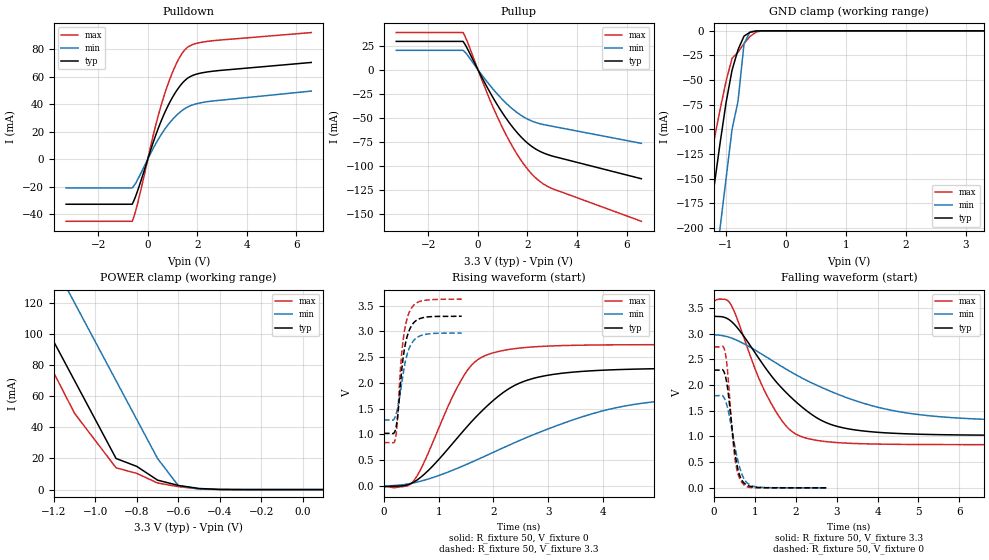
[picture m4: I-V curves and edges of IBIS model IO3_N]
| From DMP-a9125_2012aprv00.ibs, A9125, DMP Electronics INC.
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[Model]   IO3_N
|   IO3_N  MODEL
|   DATE   :  2008/8/25 ;
|   REVISION :  0.1.1 ;
|   Model generated   Mon Aug 25 17:59:42 2008
Model_type  I/O
Polarity   Non-Inverting
Enable   Active-Low
| Signals
Vinl = 0.700
Vinh = 2.100
Vmeas = 1.65
| variable   typ   min   max
C_comp   1.855pf   1.758pf   1.986pf
[Model Spec]
|   Subparameter   typ   min   max
Vinh   2.100   2.100   2.100
Vinl   0.700   0.700   0.700
Vmeas   1.650   1.485   1.815
[Temperature Range]   25   125   -40
|   typ   min   max
[Voltage Range]   3.3V   2.97V   3.63V
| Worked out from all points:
|   slope of the pulldown table from 0 to 0.495 V, typ, clamps not added: 19.3 ohm
|   slope of the pullup table from 0 to 0.495 V, typ, clamps not added: 20.6 ohm
|   GND clamp passes 1 mA (typ) near -0.56 V on its own axis
|   POWER clamp passes 1 mA (typ) near -0.51 V on its own axis
|   rising waveform, R_fixture 50, V_fixture 0: 20-80 % time 1.26ns typ, 2.53ns min, 721ps max; typ from -0.02 V to 2.29 V
|   falling waveform, R_fixture 50, V_fixture 3.3: 20-80 % time 1.5ns typ, 2.66ns min, 918ps max; typ from 3.33 V to 1.02 V
|   rising waveform, R_fixture 50, V_fixture 3.3: 20-80 % time 147ps typ, 177ps min, 132ps max; typ from 1.02 V to 3.29 V
|   falling waveform, R_fixture 50, V_fixture 0: 20-80 % time 210ps typ, 277ps min, 176ps max; typ from 2.29 V to 0.001 V
[Pulldown]
|   Voltage   I(typ)   I(min)   I(max)
-3.3V     -32.82mA   -20.98mA   -45.21mA
-630mV    -32.82mA   -20.98mA   -45.21mA
-420mV    -23.45mA   -15.27mA   -32.9mA
280mV     15.37mA    9.833mA    21.81mA
700mV     34.4mA     22.06mA    48.48mA
910mV     42.06mA    26.99mA    59.13mA
1.19V     50.45mA    32.38mA    70.72mA
1.4V      55.36mA    35.53mA    77.3mA
1.61V     58.82mA    37.88mA    81.32mA
1.96V     61.71mA    40.21mA    84.09mA
2.52V     63.63mA    42mA       85.79mA
6.6V      70.22mA    49.44mA    91.95mA
[GND Clamp]
|   Voltage   I(typ)   I(min)   I(max)
-3.3V     -1.21A     -1.3A      -1.15A
-1.4V     -252mA     -350mA     -200mA
-1.3V     -204mA     -300mA     -150mA
-1.2V     -158mA     -250mA     -111mA
-1.1V     -114mA     -200mA     -80mA
-1V       -72.9mA    -150mA     -51.1mA
-900mV    -39.9mA    -100mA     -27.9mA
-800mV    -19.1mA    -71.3mA    -21.7mA
-700mV    -5.32mA    -13mA      -12.9mA
-600mV    -1.53mA    -1.01mA    -5.7mA
-400mV    -13.4uA    -4.88uA    -88.4uA
3.3V      0A         0A         0A
[Pullup]
|   Voltage   I(typ)   I(min)   I(max)
|( VDD-Vmeas )
-3.3V     29.46mA    20.16mA    38.65mA
-600mV    29.46mA    20.16mA    38.65mA
-420mV    21.57mA    15.08mA    28.63mA
360mV     -17.74mA   -12.31mA   -23.71mA
960mV     -43.84mA   -30.26mA   -58.69mA
1.26V     -55.05mA   -37.82mA   -73.82mA
1.56V     -64.85mA   -44.27mA   -87.22mA
1.86V     -73.1mA    -49.47mA   -98.75mA
2.16V     -79.65mA   -53.32mA   -108.2mA
2.58V     -86mA      -56.76mA   -117.9mA
3V        -89.92mA   -58.94mA   -123.9mA
6.6V      -113.6mA   -76.74mA   -157.9mA
[POWER Clamp]
|   Voltage   I(typ)   I(min)   I(max)
|( VDD-Vmeas )
-3.3V     620mA      670mA      600mA
-1.4V     145mA      195mA      125mA
-1.3V     120mA      170mA      100mA
-1.2V     95mA       145mA      75mA
-1.1V     70mA       120mA      49mA
-900mV    20mA       70mA       14mA
-800mV    14.9mA     45mA       10.4mA
-700mV    6.09mA     20mA       4.26mA
-600mV    2.68mA     2.56mA     1.88mA
-500mV    731uA      316uA      511uA
-400mV    105uA      45.9uA     73.8uA
100mV     0A         0A         0A
[Rising Waveform]
R_fixture = 50
V_fixture = 0
V_fixture_min = 0
V_fixture_max = 0
C_fixture = 0
L_fixture = 0
|   Time   V(typ)   V(min)   V(max)
0s        -20.15mV   -573.8uV   -141.6uV
427ps     18.19mV    35.19mV    -672.7uV
549ps     75.8mV     60.15mV    103.9mV
1.464ns   1.083V     395.8mV    2.146V
1.708ns   1.367V     510.3mV    2.445V
2.074ns   1.726V     687.9mV    2.604V
2.44ns    1.976V     862.8mV    2.67V
2.928ns   2.134V     1.076V     2.71V
4.819ns   2.271V     1.617V     2.74V
10.37ns   2.29V      1.787V     2.742V
[Falling Waveform]
R_fixture = 50
V_fixture = 3.3
V_fixture_min = 2.97
V_fixture_max = 3.63
C_fixture = 0
L_fixture = 0
|   Time   V(typ)   V(min)   V(max)
0s        3.335V     2.978V     3.628V
372ps     3.268V     2.928V     3.614V
558ps     3.124V     2.87V      3.302V
1.054ns   2.567V     2.655V     2.211V
1.364ns   2.217V     2.503V     1.691V
1.798ns   1.826V     2.293V     1.172V
2.17ns    1.56V      2.128V     988.1mV
3.1ns     1.178V     1.798V     876.3mV
4.96ns    1.045V     1.43V      843.6mV
10.6ns    1.02V      1.285V     840.3mV
[Rising Waveform]
R_fixture = 50
V_fixture = 3.3
V_fixture_min = 2.97
V_fixture_max = 3.63
C_fixture = 0
L_fixture = 0
|   Time   V(typ)   V(min)   V(max)
0s        1.02V      1.279V     840.3mV
175ps     1.018V     1.285V     836.6mV
210ps     1.09V      1.353V     916.6mV
252ps     1.371V     1.522V     1.378V
301ps     1.958V     1.82V      2.257V
343ps     2.421V     2.119V     2.759V
406ps     2.825V     2.483V     3.174V
490ps     3.083V     2.735V     3.432V
721ps     3.267V     2.933V     3.598V
1.421ns   3.293V     2.966V     3.625V
[Falling Waveform]
R_fixture = 50
V_fixture = 0
V_fixture_min = 0
V_fixture_max = 0
C_fixture = 0
L_fixture = 0
|   Time   V(typ)   V(min)   V(max)
0s        2.29V      1.793V     2.742V
209ps     2.296V     1.79V      2.755V
275ps     2.181V     1.7V       2.622V
330ps     1.941V     1.556V     2.274V
440ps     1.157V     1.108V     1.132V
506ps     717.4mV    819.4mV    601.4mV
583ps     363.4mV    528.3mV    275.9mV
693ps     133.7mV    242.6mV    94.06mV
1.045ns   9.609mV    18.32mV    2.306mV
2.75ns    669.7uV    1.145mV    359.8uV
[Ramp]
| variables   typ   min   max
dV/dt_r   1.37418/1.25152n 1.07562/2.53997n 1.64496/719.462p
dV/dt_f   1.36818/1.48539n 1.01442/2.67241n 1.67384/917.607p
R_load   = 50.000000 | Ohms
| [End Model]
